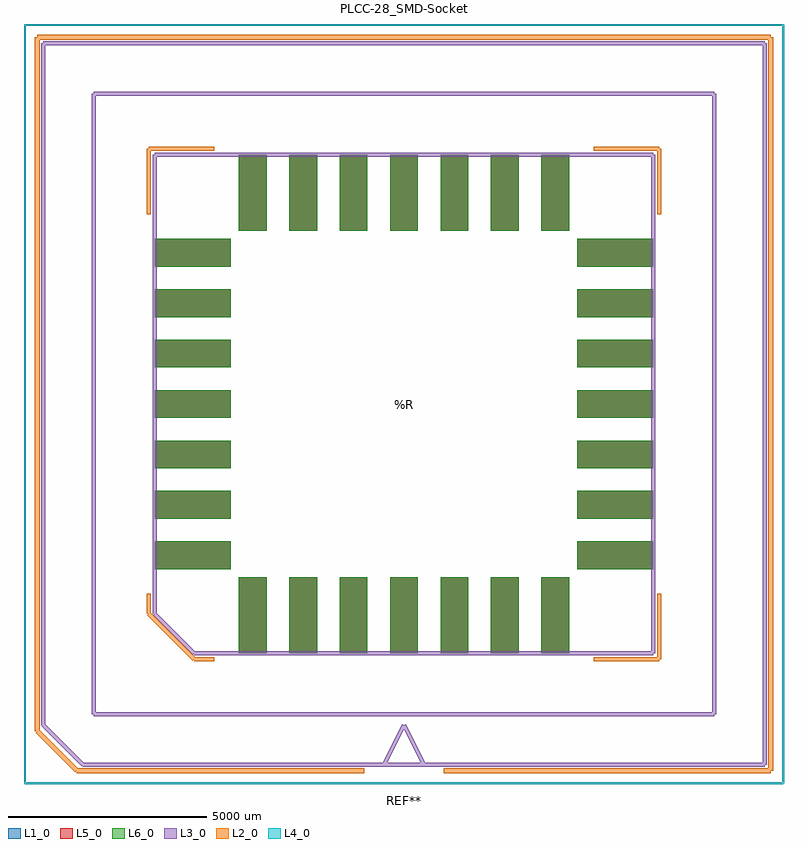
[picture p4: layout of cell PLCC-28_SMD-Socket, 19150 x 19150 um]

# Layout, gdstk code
import gdstk
lib = gdstk.Library(unit=1e-6, precision=1e-09)
def R(c, l, rs):  # rectangles x0, y0, x1, y1
    for r in rs: c.add(gdstk.rectangle(r[:2], r[2:], *l))
def A(c, l, x, y, w, h, nx, ny, dx, dy):  # array of equal rectangles
    R(c, l, [(x+i*dx, y+j*dy, x+i*dx+w, y+j*dy+h) for i in range(nx) for j in range(ny)])
L1_0 = (1, 0)
L2_0 = (2, 0)
L3_0 = (3, 0)
L4_0 = (4, 0)
L5_0 = (5, 0)
L6_0 = (6, 0)

plcc_28_smd_socket = lib.new_cell('PLCC-28_SMD-Socket')
A(plcc_28_smd_socket, L1_0, -4160, -6285, 700, 1925, 7, 2, 1270, 10645)
A(plcc_28_smd_socket, L1_0, -6285, -4160, 1925, 700, 1, 7, 0, 1270)
A(plcc_28_smd_socket, L1_0, 4360, -4160, 1925, 700, 1, 7, 0, 1270)
A(plcc_28_smd_socket, L5_0, -4160, -6285, 700, 1925, 7, 2, 1270, 10645)
A(plcc_28_smd_socket, L5_0, -6285, -4160, 1925, 700, 1, 7, 0, 1270)
A(plcc_28_smd_socket, L5_0, 4360, -4160, 1925, 700, 1, 7, 0, 1270)
A(plcc_28_smd_socket, L6_0, -4160, -6285, 700, 1925, 7, 2, 1270, 10645)
A(plcc_28_smd_socket, L6_0, -6285, -4160, 1925, 700, 1, 7, 0, 1270)
A(plcc_28_smd_socket, L6_0, 4360, -4160, 1925, 700, 1, 7, 0, 1270)
plcc_28_smd_socket.add(gdstk.FlexPath([(-8090,-9090),(-9090,-8090)], 100, ends="flush", simple_path=True, layer=3, datatype=0))  # L3_0
plcc_28_smd_socket.add(gdstk.FlexPath([(-9090,-8090),(-9090,9090)], 100, ends="flush", simple_path=True, layer=3, datatype=0))  # L3_0
plcc_28_smd_socket.add(gdstk.FlexPath([(-9090,9090),(9090,9090)], 100, ends="flush", simple_path=True, layer=3, datatype=0))  # L3_0
plcc_28_smd_socket.add(gdstk.FlexPath([(9090,9090),(9090,-9090)], 100, ends="flush", simple_path=True, layer=3, datatype=0))  # L3_0
plcc_28_smd_socket.add(gdstk.FlexPath([(9090,-9090),(-8090,-9090)], 100, ends="flush", simple_path=True, layer=3, datatype=0))  # L3_0
plcc_28_smd_socket.add(gdstk.FlexPath([(-9550,-9550),(-9550,9550)], 50, ends="flush", simple_path=True, layer=4, datatype=0))  # L4_0
plcc_28_smd_socket.add(gdstk.FlexPath([(-9550,9550),(9550,9550)], 50, ends="flush", simple_path=True, layer=4, datatype=0))  # L4_0
plcc_28_smd_socket.add(gdstk.FlexPath([(9550,9550),(9550,-9550)], 50, ends="flush", simple_path=True, layer=4, datatype=0))  # L4_0
plcc_28_smd_socket.add(gdstk.FlexPath([(9550,-9550),(-9550,-9550)], 50, ends="flush", simple_path=True, layer=4, datatype=0))  # L4_0
plcc_28_smd_socket.add(gdstk.FlexPath([(-5285,-6285),(-6285,-5285)], 100, ends="flush", simple_path=True, layer=3, datatype=0))  # L3_0
plcc_28_smd_socket.add(gdstk.FlexPath([(-6285,-5285),(-6285,6285)], 100, ends="flush", simple_path=True, layer=3, datatype=0))  # L3_0
plcc_28_smd_socket.add(gdstk.FlexPath([(-6285,6285),(6285,6285)], 100, ends="flush", simple_path=True, layer=3, datatype=0))  # L3_0
plcc_28_smd_socket.add(gdstk.FlexPath([(6285,6285),(6285,-6285)], 100, ends="flush", simple_path=True, layer=3, datatype=0))  # L3_0
plcc_28_smd_socket.add(gdstk.FlexPath([(6285,-6285),(-5285,-6285)], 100, ends="flush", simple_path=True, layer=3, datatype=0))  # L3_0
plcc_28_smd_socket.add(gdstk.FlexPath([(-7820,-7820),(-7820,7820)], 100, ends="flush", simple_path=True, layer=3, datatype=0))  # L3_0
plcc_28_smd_socket.add(gdstk.FlexPath([(-7820,7820),(7820,7820)], 100, ends="flush", simple_path=True, layer=3, datatype=0))  # L3_0
plcc_28_smd_socket.add(gdstk.FlexPath([(7820,7820),(7820,-7820)], 100, ends="flush", simple_path=True, layer=3, datatype=0))  # L3_0
plcc_28_smd_socket.add(gdstk.FlexPath([(7820,-7820),(-7820,-7820)], 100, ends="flush", simple_path=True, layer=3, datatype=0))  # L3_0
plcc_28_smd_socket.add(gdstk.FlexPath([(-500,-9090),(0,-8090)], 100, ends="flush", simple_path=True, layer=3, datatype=0))  # L3_0
plcc_28_smd_socket.add(gdstk.FlexPath([(0,-8090),(500,-9090)], 100, ends="flush", simple_path=True, layer=3, datatype=0))  # L3_0
plcc_28_smd_socket.add(gdstk.FlexPath([(-1000,-9240),(-8240,-9240)], 120, ends="flush", simple_path=True, layer=2, datatype=0))  # L2_0
plcc_28_smd_socket.add(gdstk.FlexPath([(-8240,-9240),(-9240,-8240)], 120, ends="flush", simple_path=True, layer=2, datatype=0))  # L2_0
plcc_28_smd_socket.add(gdstk.FlexPath([(-9240,-8240),(-9240,9240)], 120, ends="flush", simple_path=True, layer=2, datatype=0))  # L2_0
plcc_28_smd_socket.add(gdstk.FlexPath([(-9240,9240),(9240,9240)], 120, ends="flush", simple_path=True, layer=2, datatype=0))  # L2_0
plcc_28_smd_socket.add(gdstk.FlexPath([(9240,9240),(9240,-9240)], 120, ends="flush", simple_path=True, layer=2, datatype=0))  # L2_0
plcc_28_smd_socket.add(gdstk.FlexPath([(9240,-9240),(1000,-9240)], 120, ends="flush", simple_path=True, layer=2, datatype=0))  # L2_0
plcc_28_smd_socket.add(gdstk.FlexPath([(-4785,-6435),(-5285,-6435)], 100, ends="flush", simple_path=True, layer=2, datatype=0))  # L2_0
plcc_28_smd_socket.add(gdstk.FlexPath([(-5285,-6435),(-6435,-5285)], 100, ends="flush", simple_path=True, layer=2, datatype=0))  # L2_0
plcc_28_smd_socket.add(gdstk.FlexPath([(-6435,-5285),(-6435,-4785)], 100, ends="flush", simple_path=True, layer=2, datatype=0))  # L2_0
plcc_28_smd_socket.add(gdstk.FlexPath([(4785,-6435),(6435,-6435)], 100, ends="flush", simple_path=True, layer=2, datatype=0))  # L2_0
plcc_28_smd_socket.add(gdstk.FlexPath([(6435,-6435),(6435,-4785)], 100, ends="flush", simple_path=True, layer=2, datatype=0))  # L2_0
plcc_28_smd_socket.add(gdstk.FlexPath([(-4785,6435),(-6435,6435)], 100, ends="flush", simple_path=True, layer=2, datatype=0))  # L2_0
plcc_28_smd_socket.add(gdstk.FlexPath([(-6435,6435),(-6435,4785)], 100, ends="flush", simple_path=True, layer=2, datatype=0))  # L2_0
plcc_28_smd_socket.add(gdstk.FlexPath([(4785,6435),(6435,6435)], 100, ends="flush", simple_path=True, layer=2, datatype=0))  # L2_0
plcc_28_smd_socket.add(gdstk.FlexPath([(6435,6435),(6435,4785)], 100, ends="flush", simple_path=True, layer=2, datatype=0))  # L2_0
plcc_28_smd_socket.add(gdstk.Label('REF**', (0,-10090), layer=2, texttype=0))
plcc_28_smd_socket.add(gdstk.Label('PLCC-28_SMD-Socket', (0,10090), layer=3, texttype=0))
plcc_28_smd_socket.add(gdstk.Label('%R', (0,0), layer=3, texttype=0))

lib.write_gds('PLCC-28_SMD-Socket.gds')
